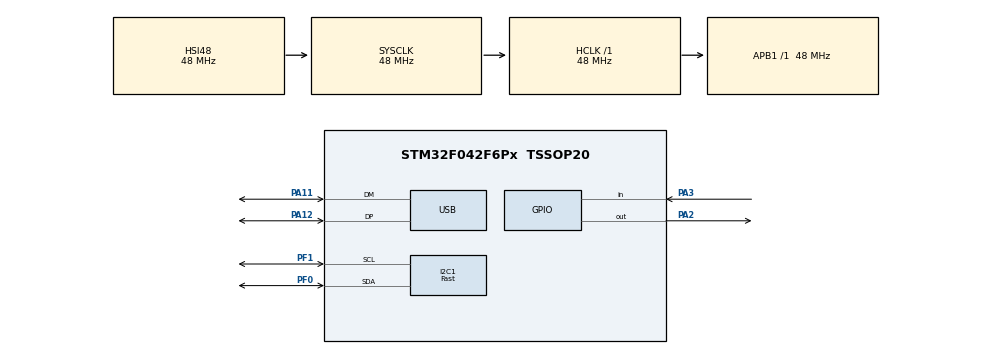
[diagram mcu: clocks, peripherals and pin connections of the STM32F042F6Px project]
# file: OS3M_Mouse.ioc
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I2C1.AddressingMode=I2C_ADDRESSINGMODE_7BIT
I2C1.Analog_Filter=I2C_ANALOGFILTER_ENABLE
I2C1.DualAddressMode=I2C_DUALADDRESS_DISABLE
I2C1.GeneralCallMode=I2C_GENERALCALL_DISABLE
I2C1.I2C_Coeff_DF=0
I2C1.I2C_Fall_Time=0
I2C1.I2C_Rise_Time=0
I2C1.I2C_Speed_Mode=I2C_Fast
I2C1.NoStretchMode=I2C_NOSTRETCH_DISABLE
I2C1.OwnAddress=0
I2C1.Speed=400
I2C1.Timing=0x2010091A
Mcu.Family=STM32F0
Mcu.Name=STM32F042F6Px
Mcu.Package=TSSOP20
NVIC.USB_IRQn=true\:0\:0\:false\:false\:true\:false\:true\:true
PA11.Mode=Device
PA11.Signal=USB_DM
PA12.Mode=Device
PA12.Signal=USB_DP
PA13.Mode=Serial_Wire
PA13.Signal=SYS_SWDIO
PA14.Mode=Serial_Wire
PA14.Signal=SYS_SWCLK
PA2.PinState=GPIO_PIN_SET
PA2.Signal=GPIO_Output
PA3.GPIO_PuPd=GPIO_PULLDOWN
PA3.Signal=GPIO_Input
PF0-OSC_IN.Mode=I2C
PF0-OSC_IN.Signal=I2C1_SDA
PF1-OSC_OUT.Mode=I2C
PF1-OSC_OUT.Signal=I2C1_SCL
ProjectManager.HeapSize=0x200
ProjectManager.StackSize=0x400
ProjectManager.TargetToolchain=Makefile
RCC.AHBFreq_Value=48000000
RCC.APB1Freq_Value=48000000
RCC.APB1TimFreq_Value=48000000
RCC.FLatency=FLASH_LATENCY_1
RCC.HCLKFreq_Value=48000000
RCC.I2c1ClockSelection=RCC_I2C1CLKSOURCE_SYSCLK
RCC.SYSCLKFreq_VALUE=48000000
RCC.SYSCLKSource=RCC_SYSCLKSOURCE_HSI48
USB_DEVICE.CLASS_NAME_FS=HID
USB_DEVICE.MANUFACTURER_STRING=HexaCube
USB_DEVICE.PRODUCT_STRING_HID_FS=OS3M SpaceMouse
USB_DEVICE.VirtualMode=Hid
USB_DEVICE.VirtualModeFS=Hid_FS
VP_SYS_VS_PINREMAP.Mode=PINREMAP
VP_USB_DEVICE_VS_USB_DEVICE_HID_FS.Mode=HID_FS
board=custom

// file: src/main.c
/* USER CODE BEGIN Header */
/*
Copyright(C) 2023 Colton Baldridge

This program is free software : you can redistribute it and /or modify
it under the terms of the GNU General Public License as published by
the Free Software Foundation, either version 3 of the License, or
(at your option) any later version.

This program is distributed in the hope that it will be useful,
but WITHOUT ANY WARRANTY; without even the implied warranty of
MERCHANTABILITY or FITNESS FOR A PARTICULAR PURPOSE.See the
GNU General Public License for more details.

You should have received a copy of the GNU General Public License
along with this program.If not, see < https://www.gnu.org/licenses/>.
*/
/* USER CODE END Header */
#include "main.h"
#include "i2c.h"
#include "usb_device.h"
#include "gpio.h"

/* USER CODE BEGIN Includes */
#include "STM_LDC16xx.h"

/* USER CODE END Includes */

/* USER CODE BEGIN PTD */

//Set the size of the averaging window. Set to 1 if you want no averaging at all
#define WIN_SIZE 5

typedef struct Sensor_st {
  uint8_t LDCAdr;
  uint8_t channel;
  uint32_t cal;
  uint32_t val;
  int32_t diff;
  uint32_t vals[WIN_SIZE];
} Sensor_st;

typedef enum {
  HONED = 0,
  ACTIVE = 1,
} honing_state_t;

/* USER CODE END PTD */

/* USER CODE BEGIN PD */
#define BOOTLOADER_ADDRESS 0x1FFFC400 // address of the bootloader ROM

#define LDC_HONE_DEADBAND 30 // the magnitude of all channel readings should be less than this before LDC honing begins (honing counter is increased)
#define LDC_HONE_PERIOD 40 // this many samples should pass within LDC_HONE_DEADBAND before LDC honing (and Autozero) executes
//Autozeroing parameter
//If the summed changes from one sampling-loop to the next is less than this value, honing counter will be increased, eventually leading to zeroing.
//If you experience that the zeroing is done when you don't want to, try reducing this value
//Note that the stiffer your flexure part is, the lower this number must be, and vice versa. Also, the larger WIN_SIZE, the smaller this parameter needs to be.
//Set it to 0 to disable Autozero
#define AUTOZERO_MAX_TOTAL_CHANGE 10

// Scaling factors are set to give good results with the "custom target" and Spacemouse's default driver settings
#define X_SCALE_FACTOR -1.68
#define Y_SCALE_FACTOR 1.68
#define Z_SCALE_FACTOR -0.2
#define RX_SCALE_FACTOR 1
#define RY_SCALE_FACTOR -1
#define RZ_SCALE_FACTOR -1.68

//This parameter is used to scale the sensor data uniformly.
//If you want to increase or decrease the overall gain, you can do it here.
#define COMMON_DENOM 125

//Constants to index the different sensors. Not to be changed.
#define NUM_SENSORS 6
#define LDC1CH0_id 0
#define LDC1CH1_id 1
#define LDC1CH2_id 2
#define LDC1CH3_id 3
#define LDC2CH0_id 4
#define LDC2CH1_id 5

//Bit in USB report 0x03 corresponding to the respective spacemouse-button. Not to be changed.
#define BUTTON_1_BIT 12
#define BUTTON_2_BIT 13
#define BUTTON_3_BIT 14
#define BUTTON_4_BIT 15
#define BUTTON_ESC_BIT 22
#define BUTTON_CTRL_BIT 25
#define BUTTON_ALT_BIT 23
#define BUTTON_SHIFT_BIT 24
#define BUTTON_MENU_BIT 0
#define BUTTON_VIEW_FIT_BIT 1
#define BUTTON_VIEW_FRONT_BIT 5
#define BUTTON_VIEW_RIGHT_BIT 4
#define BUTTON_VIEW_TOP_BIT 2
#define BUTTON_VIEW_ROLLL90_BIT 8
#define BUTTON_ROT_TOGGLE_BIT 26

//Here select/define which function each os3m button (each connected to a TP) should have.
//Comment out the lines you don't use (i.e. if no button is connected or you use the TP for something else)
//Note that buttons can also be assigned other functions in the PC driver
//All buttons are active low, i.e. the switch shall be between TP and GND.
#define TP1_BUTTON_BIT BUTTON_VIEW_FIT_BIT
#define TP2_BUTTON_BIT BUTTON_VIEW_FRONT_BIT
#define TP3_BUTTON_BIT BUTTON_ROT_TOGGLE_BIT
#define TP4_BUTTON_BIT BUTTON_CTRL_BIT

#define HI1BYTE(x)  ((uint8_t)(((x) & 0x0000FF00UL) >> 8U))
#define HI2BYTE(x)  ((uint8_t)(((x) & 0x00FF0000UL) >> 16U))
#define HI3BYTE(x)  ((uint8_t)(((x) & 0xFF000000UL) >> 24U))

//Check the button assignments at compile time
#define INVALID_BIT(x) (x > 31 || x < 0)

#ifdef TP1_BUTTON_BIT
  #if INVALID_BIT(TP1_BUTTON_BIT)
  #error Invalid value for TP1_BUTTON_BIT
  #endif
#endif

#ifdef TP2_BUTTON_BIT
  #if INVALID_BIT(TP2_BUTTON_BIT)
  #error Invalid value for TP2_BUTTON_BIT
  #endif
#endif

#ifdef TP3_BUTTON_BIT
  #if INVALID_BIT(TP3_BUTTON_BIT)
  #error Invalid value for TP3_BUTTON_BIT
  #endif
#endif

#ifdef TP4_BUTTON_BIT
  #if INVALID_BIT(TP4_BUTTON_BIT)
  #error Invalid value for TP4_BUTTON_BIT
  #endif
#endif

/* USER CODE END PD */

/* USER CODE BEGIN PV */
extern USBD_HandleTypeDef hUsbDeviceFS;

/* USER CODE END PV */

/* USER CODE BEGIN PFP */
void SystemClock_Config(void);

/* USER CODE END PFP */

/* USER CODE BEGIN 0 */

void sendHidReport(int16_t x, int16_t y, int16_t z, int16_t rx, int16_t ry, int16_t rz, uint32_t buttons)
{
  uint8_t buffer_trans[7] = {0x01, LOBYTE(x), HIBYTE(x), LOBYTE(y), HIBYTE(y), LOBYTE(z), HIBYTE(z)};
  uint8_t buffer_rot[7] = {0x02, LOBYTE(rx), HIBYTE(rx), LOBYTE(ry), HIBYTE(ry), LOBYTE(rz), HIBYTE(rz)};
  static uint32_t last_sent_buttons = 0;

  USBD_HID_SendReport(&hUsbDeviceFS, &buffer_trans, sizeof(buffer_trans));
  HAL_Delay(2);
  USBD_HID_SendReport(&hUsbDeviceFS, &buffer_rot, sizeof(buffer_rot));

  if ( buttons != last_sent_buttons)
  {
    uint8_t buffer_but[5] = {0x03, LOBYTE(buttons), HI1BYTE(buttons), HI2BYTE(buttons), HI3BYTE(buttons)};
    HAL_Delay(10); //For some reason this delay is needed to always get the packet sent. 5ms was not enough.
    USBD_HID_SendReport(&hUsbDeviceFS, &buffer_but, sizeof(buffer_but));
    last_sent_buttons = buttons;
  }
}

int16_t boundToInt16(int32_t value) {
    if (value < INT16_MIN) {
        return INT16_MIN;
    } else if (value > INT16_MAX) {
        return INT16_MAX;
    } else {
        return (int16_t)value;
    }
}

void jumpToBootloader(void) {
  // Taken from https://community.st.com/t5/stm32-mcus/how-to-jump-to-system-bootloader-from-application-code-on-stm32/tac-p/596379/highlight/true#M617
  void (*SysMemBootJump)(void);
  uint8_t i;

  __disable_irq();
  // Reset USB
  USB->CNTR = 0x0003;

  //De-init all peripherals
  HAL_I2C_DeInit(&hi2c1);
  HAL_GPIO_DeInit(GPIOA, GPIO_PIN_2 | GPIO_PIN_3 | GPIO_PIN_4 | GPIO_PIN_5 | GPIO_PIN_6 | GPIO_PIN_7 );

  // Disable Systick
  SysTick->CTRL = 0;
  SysTick->LOAD = 0;
  SysTick->VAL = 0;

  // Reset clock to default
  HAL_RCC_DeInit();

  // Clear all interrupt bits
  for (i = 0; i < sizeof(NVIC->ICER) / sizeof(NVIC->ICER[0]); i++)
  {
    NVIC->ICER[i] = 0xFFFFFFFF;
    NVIC->ICPR[i] = 0xFFFFFFFF;
  }

  __enable_irq();

  SysMemBootJump = (void (*)(void)) (*((uint32_t *) (BOOTLOADER_ADDRESS + 4)));
  __set_MSP(*(uint32_t *)BOOTLOADER_ADDRESS);
  SysMemBootJump();

  while (1); // Just in case...
}

 LDC_configReg default_config[] = {
  { LDC16xx_CLOCK_DIVIDERS_CH0,   0x5002 }, // get weird behavior with other dividers like 1002, just stick with this for now
  { LDC16xx_CLOCK_DIVIDERS_CH1,   0x5002 },
  { LDC16xx_CLOCK_DIVIDERS_CH2,   0x5002 },
  { LDC16xx_CLOCK_DIVIDERS_CH3,   0x5002 },
  { LDC16xx_SETTLECOUNT_CH0,      0x0040 },
  { LDC16xx_SETTLECOUNT_CH1,      0x0040 },
  { LDC16xx_SETTLECOUNT_CH2,      0x0040 },
  { LDC16xx_SETTLECOUNT_CH3,      0x0040 },
  { LDC16xx_RCOUNT_CH0,           0x1fff },
  { LDC16xx_RCOUNT_CH1,           0x1fff },
  { LDC16xx_RCOUNT_CH2,           0x1fff },
  { LDC16xx_RCOUNT_CH3,           0x1fff },
  { LDC16xx_DRIVE_CURRENT_CH0,    0xD000 },
  { LDC16xx_DRIVE_CURRENT_CH1,    0xD000 },
  { LDC16xx_DRIVE_CURRENT_CH2,    0xD000 },
  { LDC16xx_DRIVE_CURRENT_CH3,    0xD000 },
  { LDC16xx_ERROR_CONFIG,         0x0001 },
  { LDC16xx_MUX_CONFIG,           LDC16xx_BITS_DEGLITCH_3_3Mhz | LDC16xx_BITS_AUTOSCAN_EN | LDC16xx_BITS_RR_SEQUENCE_CH0_CH1_CH2_CH3 },
  { LDC16xx_CONFIG,               LDC16xx_BITS_ACTIVE_CHAN_CH0 // select channel 0
                                  | LDC16xx_BITS_AUTO_AMP_DIS // if 0, IDRIVE constantly adjusts
                                  | LDC16xx_BITS_RP_OVERRIDE_EN // if 0, IDRIVE auto calibrates on sensor startup
                                  | LDC16xx_BITS_INTB_DIS // disable intb pin
                                  | LDC16xx_BITS_REF_CLK_SRC // 40MHz ext clock
                                  // | LDC16xx_BITS_SLEEP_MODE_EN // start in sleep mode
                                  },
};

LDC_configReg SLEEP_CONFIG_config = { LDC16xx_CONFIG, LDC16xx_BITS_ACTIVE_CHAN_CH0 | LDC16xx_BITS_AUTO_AMP_DIS | LDC16xx_BITS_INTB_DIS | LDC16xx_BITS_SLEEP_MODE_EN};
LDC_configReg AWAKE_CONFIG_config = { LDC16xx_CONFIG, LDC16xx_BITS_ACTIVE_CHAN_CH0 | LDC16xx_BITS_AUTO_AMP_DIS | LDC16xx_BITS_INTB_DIS};

#define LDC_CONFIG_SIZE sizeof(default_config)/sizeof(LDC_configReg)
/* USER CODE END 0 */

int main(void)
{

  /* MCU Configuration--------------------------------------------------------*/

  /* Reset of all peripherals, Initializes the Flash interface and the Systick. */
  HAL_Init();

  /* Configure the system clock */
  SystemClock_Config();

  /* Initialize all configured peripherals */
  MX_GPIO_Init();

  #ifdef TP1_BUTTON_BIT
  MX_GPIO_Init_Tp_Button(GPIO_PIN_4);
  #endif

  #ifdef TP2_BUTTON_BIT
  MX_GPIO_Init_Tp_Button(GPIO_PIN_5);
  #endif

  #ifdef TP3_BUTTON_BIT
  MX_GPIO_Init_Tp_Button(GPIO_PIN_6);
  #endif

  #ifdef TP4_BUTTON_BIT
  MX_GPIO_Init_Tp_Button(GPIO_PIN_7);
  #endif

  MX_I2C1_Init();
  MX_USB_DEVICE_Init();
  /* USER CODE BEGIN 2 */
  uint8_t is_earlier_revision = 0;
  // Check if user has earlier revision of board where UART pins are shorted by default
  if (HAL_GPIO_ReadPin(GPIOA, GPIO_PIN_3) == GPIO_PIN_SET) {
    is_earlier_revision = 1;
  }
  // Reset the LDCs
  resetDevice(0x2a);
  resetDevice(0x2b);
  // Load the config onto the LDC1614
  loadConfig(0x2a, default_config, LDC_CONFIG_SIZE);
  // Change the mux register in the config to only scan 2 channels instead of 4 (for LDC1612)
  LDC_configReg LDC1612_MUX_config = {LDC16xx_MUX_CONFIG, LDC16xx_BITS_DEGLITCH_3_3Mhz | LDC16xx_BITS_AUTOSCAN_EN | LDC16xx_BITS_RR_SEQUENCE_CH0_CH1};
  default_config[16] = LDC1612_MUX_config;
  // Send the new config to the LDC1612
  loadConfig(0x2b, default_config, LDC_CONFIG_SIZE);

  Sensor_st* sensors[NUM_SENSORS];
  uint8_t i,j,w_cnt=0;
  uint32_t tmp;
  const uint32_t denom = COMMON_DENOM * WIN_SIZE;

  //Initialise all sensor structs
  for(i = 0; i < NUM_SENSORS; i++) {
    sensors[i] = (Sensor_st*)malloc(sizeof(Sensor_st));
    sensors[i]->LDCAdr = 0x2a; //Note: Some will be changed to 0x2b below
    sensors[i]->val = 0;
    sensors[i]->diff = 0;
    sensors[i]->cal =  0;
  }
  sensors[LDC2CH0_id]->LDCAdr = 0x2b;
  sensors[LDC2CH1_id]->LDCAdr = 0x2b;
  sensors[LDC1CH0_id]->channel = 0;
  sensors[LDC1CH1_id]->channel = 1;
  sensors[LDC1CH2_id]->channel = 2;
  sensors[LDC1CH3_id]->channel = 3;
  sensors[LDC2CH0_id]->channel = 0;
  sensors[LDC2CH1_id]->channel = 1;

  //Fill the averaging window(s) with samples and calculate the current value(s)
  for(j = 0; j < WIN_SIZE; j++) {
    for(i = 0; i < NUM_SENSORS; i++) {
      readChannel(sensors[i]->LDCAdr, sensors[i]->channel, &tmp);
      sensors[i]->vals[j] = tmp / denom;
      sensors[i]->val += sensors[i]->vals[j];
    }
    HAL_Delay(20);
  }
  //Set the zero position
  for(i = 0; i < NUM_SENSORS; i++) {
    sensors[i]->cal = sensors[i]->val;
  }

  // Honing counter
  uint32_t ldc_honing_count = 0;
  honing_state_t ldc_honing_state = HONED;
  uint8_t in_deadband = 1;

// Autozero variables
  uint8_t probably_home = 0;
  uint32_t total_change = 0;

  /* USER CODE END 2 */

  /* Infinite loop */
  /* USER CODE BEGIN WHILE */

  while (1)
  {
    if (HAL_GPIO_ReadPin(GPIOA, GPIO_PIN_3) == GPIO_PIN_SET && !is_earlier_revision) {
      jumpToBootloader();
    }
    // Grab a new set of values

    total_change = 0;
    in_deadband = 1;

    for(i = 0; i< NUM_SENSORS; i++) {
      //Get the latest reading, divided by the window size and COMON_DENOM
      readChannel(sensors[i]->LDCAdr, sensors[i]->channel, &tmp);
      sensors[i]->vals[w_cnt] = tmp / denom;

      //Calculate the average
      sensors[i]->val = 0;
      for (j = 0 ; j < WIN_SIZE; j++){
        sensors[i]->val += sensors[i]->vals[j];
      }

      //Calculate the change(s) from previous sample(s) and sum them up
      //OBS uses the diff value calculated for the _previous_ sample
      total_change += abs((int32_t)sensors[i]->val + sensors[i]->diff - (int32_t)sensors[i]->cal);

      //calculate the new diff value
      sensors[i]->diff = ((int32_t)(sensors[i]->cal) - (int32_t)(sensors[i]->val));

      if(abs(sensors[i]->diff) > LDC_HONE_DEADBAND){
        in_deadband = 0;
      }
    }

    w_cnt = (w_cnt + 1) % WIN_SIZE;

   //For Autozero, judge whether the knob is still
    probably_home = total_change < AUTOZERO_MAX_TOTAL_CHANGE;

    // Perform honing (if necessary)
    switch (ldc_honing_state){
      case HONED:
        if( !in_deadband || !probably_home)
        {
          ldc_honing_state = ACTIVE;
        }
        break;
      case ACTIVE:
        if( in_deadband )
        {
          ldc_honing_count++;
        }
        else if( probably_home )
        {
          ldc_honing_count++;
        }
        else
        {
          ldc_honing_count = 0;
        }
        if(ldc_honing_count > LDC_HONE_PERIOD)
        {
          for(i = 0; i< NUM_SENSORS; i++) {
            sensors[i]->cal = sensors[i]->val;
            sensors[i]->diff = 0;
          }

          ldc_honing_count = 0;
          ldc_honing_state = HONED;
        }
      default:
        break;
    }

    // Get sums and differences
    int32_t cm1 = sensors[LDC1CH0_id]->diff + sensors[LDC1CH1_id]->diff;
    int32_t dm1 = sensors[LDC1CH0_id]->diff - sensors[LDC1CH1_id]->diff;
    int32_t cm2 = sensors[LDC1CH2_id]->diff + sensors[LDC1CH3_id]->diff;
    int32_t dm2 = sensors[LDC1CH2_id]->diff - sensors[LDC1CH3_id]->diff;
    int32_t cm3 = sensors[LDC2CH0_id]->diff + sensors[LDC2CH1_id]->diff;
    int32_t dm3 = sensors[LDC2CH0_id]->diff - sensors[LDC2CH1_id]->diff;

    // Compute tranformation
    int32_t z = cm1 + cm2 + cm3;
    int32_t y = - dm1 + dm3;
    int32_t x = - (dm2 - dm1 / 2 - dm3 / 2);
    int32_t rz = dm1 + dm2 + dm3;
    int32_t rx = cm1 / 2 - cm2 + cm3 / 2;
    int32_t ry =  - cm1 + cm3;

    if(in_deadband){
      z = 0;
      y = 0;
      x = 0;
      rz = 0;
      rx = 0;
      ry = 0;
    } else {
      x = X_SCALE_FACTOR * x;
      y = Y_SCALE_FACTOR * y;
      z = Z_SCALE_FACTOR * z;
      rx = RX_SCALE_FACTOR * rx;
      ry = RY_SCALE_FACTOR * ry;
      rz = RZ_SCALE_FACTOR * rz;
    }

    uint32_t buttons = 0;

    #ifdef TP1_BUTTON_BIT
    if(HAL_GPIO_ReadPin(GPIOA, GPIO_PIN_4) == GPIO_PIN_RESET)
    {
      buttons |= 1ul << TP1_BUTTON_BIT;
    }
    #endif
    #ifdef TP2_BUTTON_BIT
    if(HAL_GPIO_ReadPin(GPIOA, GPIO_PIN_5) == GPIO_PIN_RESET)
    {
      buttons |= 1ul << TP2_BUTTON_BIT;
    }
    #endif
    #ifdef TP3_BUTTON_BIT
    if(HAL_GPIO_ReadPin(GPIOA, GPIO_PIN_6) == GPIO_PIN_RESET)
    {
      buttons |= 1ul << TP3_BUTTON_BIT;
    }
    #endif
    #ifdef TP4_BUTTON_BIT
    if(HAL_GPIO_ReadPin(GPIOA, GPIO_PIN_7) == GPIO_PIN_RESET)
    {
      buttons |= 1ul << TP4_BUTTON_BIT;
    }
    #endif

    // Send the data.
    sendHidReport(boundToInt16(x),boundToInt16(y),boundToInt16(z),boundToInt16(rx),boundToInt16(ry),boundToInt16(rz), buttons);

    // Debug send for if you want the raw coil data
    // sendHidReport(
    //   ldc1_ch0_dif,
    //   ldc1_ch1_dif,
    //   ldc1_ch2_dif,
    //   ldc1_ch3_dif,
    //   ldc2_ch0_dif,
    //   ldc2_ch1_dif,
    //   buttons
    // );

      // Delay a bit for the LDCs to get new readings
      // (in the future, add INTB pin support so the LDCs can alert the MCU when they have new data ready)
      HAL_Delay(20);

    /* USER CODE END WHILE */
  }

}

void SystemClock_Config(void)
{
  RCC_OscInitTypeDef RCC_OscInitStruct = {0};
  RCC_ClkInitTypeDef RCC_ClkInitStruct = {0};
  RCC_PeriphCLKInitTypeDef PeriphClkInit = {0};

  /** Initializes the RCC Oscillators according to the specified parameters
  * in the RCC_OscInitTypeDef structure.
  */
  RCC_OscInitStruct.OscillatorType = RCC_OSCILLATORTYPE_HSI48;
  RCC_OscInitStruct.HSI48State = RCC_HSI48_ON;
  RCC_OscInitStruct.PLL.PLLState = RCC_PLL_NONE;
  if (HAL_RCC_OscConfig(&RCC_OscInitStruct) != HAL_OK)
  {
    Error_Handler();
  }

  /** Initializes the CPU, AHB and APB buses clocks
  */
  RCC_ClkInitStruct.ClockType = RCC_CLOCKTYPE_HCLK|RCC_CLOCKTYPE_SYSCLK
                              |RCC_CLOCKTYPE_PCLK1;
  RCC_ClkInitStruct.SYSCLKSource = RCC_SYSCLKSOURCE_HSI48;
  RCC_ClkInitStruct.AHBCLKDivider = RCC_SYSCLK_DIV1;
  RCC_ClkInitStruct.APB1CLKDivider = RCC_HCLK_DIV1;

  if (HAL_RCC_ClockConfig(&RCC_ClkInitStruct, FLASH_LATENCY_1) != HAL_OK)
  {
    Error_Handler();
  }
  PeriphClkInit.PeriphClockSelection = RCC_PERIPHCLK_USB|RCC_PERIPHCLK_I2C1;
  PeriphClkInit.I2c1ClockSelection = RCC_I2C1CLKSOURCE_SYSCLK;
  PeriphClkInit.UsbClockSelection = RCC_USBCLKSOURCE_HSI48;

  if (HAL_RCCEx_PeriphCLKConfig(&PeriphClkInit) != HAL_OK)
  {
    Error_Handler();
  }
}

void Error_Handler(void)
{
  __disable_irq();
  while (1)
  {
  }
}
